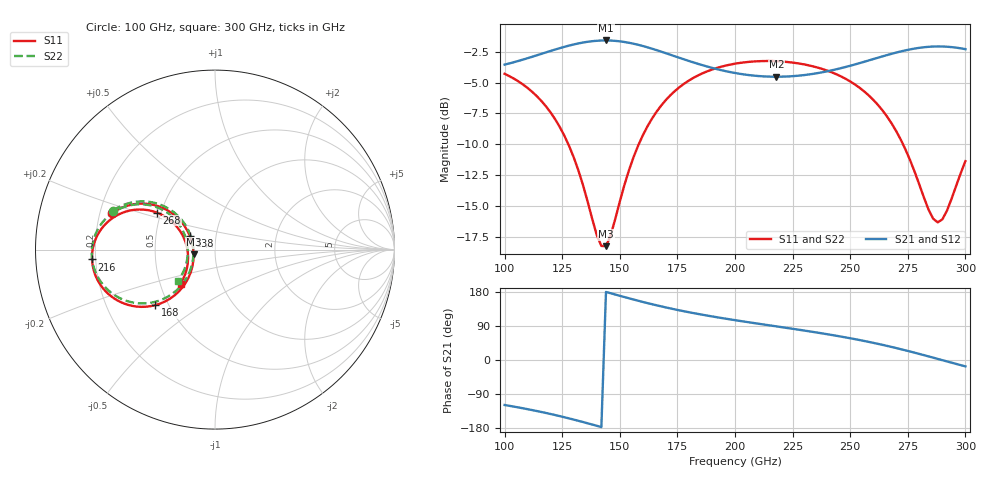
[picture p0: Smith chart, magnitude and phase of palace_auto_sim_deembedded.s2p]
! Created with skrf 1.11.0 (http://scikit-rf.org).
# GHz S DB R 50.0
!freq dBS11 angS11 dBS21 angS21 dBS12 angS12 dBS22 angS22
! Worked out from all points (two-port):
!   101 points, 100 GHz to 300 GHz, reference 50 ohm
!   highest |S21| = -1.58 dB at 144 GHz (marker M1); lowest = -4.5 dB at 218 GHz (marker M2)
!   |S21| within 3 dB of the highest: start of sweep to end of sweep
!   lowest |S11| = -18.3 dB at 144 GHz (marker M3), VSWR 1.28, Z = 39.3 - j2.06 ohm
!   |S11| at or under -10 dB: 127.6 GHz to 158.3 GHz (30.62 GHz wide, 21.4 % of centre); 272.9 GHz to end of sweep
!   |S22| runs from -18.3 to -3.3 dB; largest |S21 - S12| = 8.4e-14
!   S11 on the Smith chart (normalised r, x): 100 GHz: 0.25, +0.16; 138 GHz: 0.75, +0.11; 168 GHz: 0.42, -0.33; 216 GHz: 0.19, -0.04; 268 GHz: 0.48, +0.23; 300 GHz: 0.64, -0.26
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100  -4.29 160.7  -3.55 -118.7  -3.55 -118.7  -4.30 159.2
110  -5.44 152.2  -3.02 -129.8  -3.02 -129.8  -5.45 150.6
120  -7.44 144.0  -2.43 -142.6  -2.43 -142.6  -7.44 142.2
128  -10.15 139.7  -2.00 -154.2  -2.00 -154.2  -10.15 137.8
134  -13.31 142.1  -1.75 -163.7  -1.75 -163.7  -13.31 140.1
138  -16.05 152.0  -1.64 -170.3  -1.64 -170.3  -16.05 149.9
142  -18.26 176.1  -1.59 -177.0  -1.59 -177.0  -18.26 173.9
144  -18.28 -167.8  -1.58 179.6  -1.58 179.6  -18.28 -170.0
156  -11.04 -130.7  -1.85 159.5  -1.85 159.5  -11.04 -133.2
168  -6.86 -137.0  -2.49 141.5  -2.49 141.5  -6.86 -139.6
182  -4.62 -149.2  -3.37 123.8  -3.37 123.8  -4.62 -152.0
200  -3.47 -163.7  -4.23 105.1  -4.23 105.1  -3.48 -166.8
216  -3.26 -175.4  -4.53 90.5  -4.53 90.5  -3.26 -178.8
218  -3.27 -176.8  -4.53 88.7  -4.53 88.7  -3.28 179.8
234  -3.69 171.7  -4.29 74.0  -4.29 74.0  -3.70 168.0
254  -5.41 156.6  -3.43 52.7  -3.43 52.7  -5.42 152.6
268  -8.32 147.5  -2.67 34.4  -2.67 34.4  -8.33 143.3
280  -13.28 152.5  -2.18 16.0  -2.18 16.0  -13.30 148.1
284  -15.31 164.6  -2.10 9.5  -2.10 9.5  -15.33 160.2
288  -16.35 -174.5  -2.07 2.9  -2.07 2.9  -16.38 -178.9
292  -15.40 -153.3  -2.09 -3.8  -2.09 -3.8  -15.42 -157.7
300  -11.38 -135.4  -2.29 -16.8  -2.29 -16.8  -11.39 -140.0
